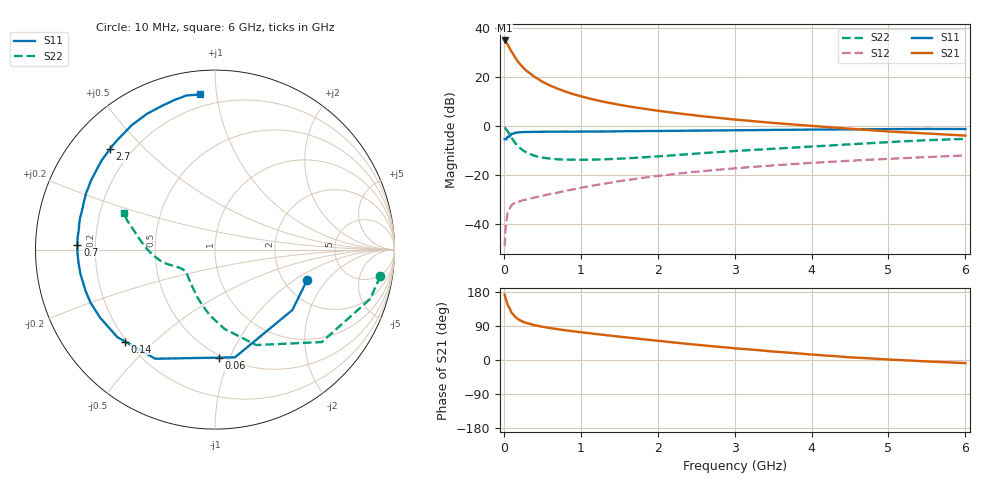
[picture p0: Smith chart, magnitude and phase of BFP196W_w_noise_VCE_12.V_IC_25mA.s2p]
! Infineon Technologies  Discrete & RF Semiconductors
! BFP196W
! VCE =  12. V,  IC =  25 mA
! Common Emitter S-Parameters:  Jan 2017
# GHz  S  MA  R  50
!  f  S11  S21  S12  S22
! GHz  MAG  ANG  MAG  ANG  MAG  ANG  MAG  ANG
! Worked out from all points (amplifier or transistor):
!   77 points, 10 MHz to 6 GHz, reference 50 ohm
!   highest |S21| = 34.8 dB at 10 MHz (marker M1)
!   |S21| within 3 dB of that: start of sweep to 73.14 MHz
!   unconditionally stable (mu >= 1): 934.3 MHz to 3.235 GHz
!   at 130 MHz: K = 0.28, MSG = 30.1 dB, |S12| = -31.5 dB
!   at 2.2 GHz: K = 1.06, MAG = 11.1 dB, |S12| = -19.6 dB
!   at 6 GHz: K = 0.90, MSG = 4.0 dB, |S12| = -12.0 dB
!   lowest NFmin = 1.07 dB at 450 MHz
!   S11 on the Smith chart (normalised r, x): 10 MHz: 2.67, -1.27; 60 MHz: 0.48, -0.91; 140 MHz: 0.19, -0.41; 700 MHz: 0.13, +0.02; 2.7 GHz: 0.12, +0.40; 6 GHz: 0.13, +0.90
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0.01  0.5407 -18.2  54.92 172.5  0.0036 65.6  0.9334 -9.1
0.02  0.5469 -38.0  53.16 164.2  0.0074 68.7  0.9066 -17.7
0.05  0.6105 -79.5  45.43 144.9  0.0172 54.6  0.7869 -40.9
0.06  0.6022 -87.9  42.51 141.8  0.0186 51.7  0.7356 -44.8
0.1  0.6931 -118.7  32.57 124.3  0.0246 43.5  0.5792 -66.6
0.14  0.7168 -134.4  25.78 115.9  0.0275 37.8  0.4683 -79.1
0.15  0.7307 -138.1  24.2 113.1  0.0282 36.6  0.4452 -83.2
0.2  0.744 -149.3  18.93 105.9  0.029 34.8  0.3682 -94.3
0.25  0.754 -157.0  15.48 100.8  0.0312 34.5  0.3176 -102.9
0.3  0.7569 -162.4  13.03 97.3  0.032 34.1  0.2852 -109.8
0.4  0.762 -169.8  9.935 91.8  0.0351 37.8  0.247 -119.9
0.5  0.7641 -174.8  7.984 87.8  0.0379 40.1  0.2278 -127.1
0.7  0.7671 177.9  5.726 81.4  0.0442 46.2  0.2102 -136.5
0.9  0.7667 172.0  4.456 75.8  0.0513 49.3  0.2064 -141.9
1.1  0.7721 167.2  3.666 71.0  0.0594 51.8  0.2065 -145.4
1.5  0.7797 158.6  2.701 61.7  0.0754 54.5  0.2167 -151.2
2.1  0.7945 146.7  1.953 48.7  0.1004 54.1  0.2472 -158.3
2.7  0.81 136.3  1.512 36.6  0.1255 51.6  0.2888 -165.0
3.1  0.8201 129.9  1.313 29.4  0.1417 49.3  0.3166 -169.7
4.1  0.8468 115.3  0.98 13.0  0.1815 42.7  0.3903 177.5
5.1  0.8652 104.2  0.759 0.3  0.2185 35.3  0.4786 165.2
6  0.8685 95.6  0.638 -8.2  0.2521 28.5  0.547 158.1
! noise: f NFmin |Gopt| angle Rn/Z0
0.45  1.07  0.43  175  0.05
0.9  1.24  0.51  -179  0.06
1.9  2.11  0.68  -152  0.12
2.4  2.53  0.74  -146  0.21
